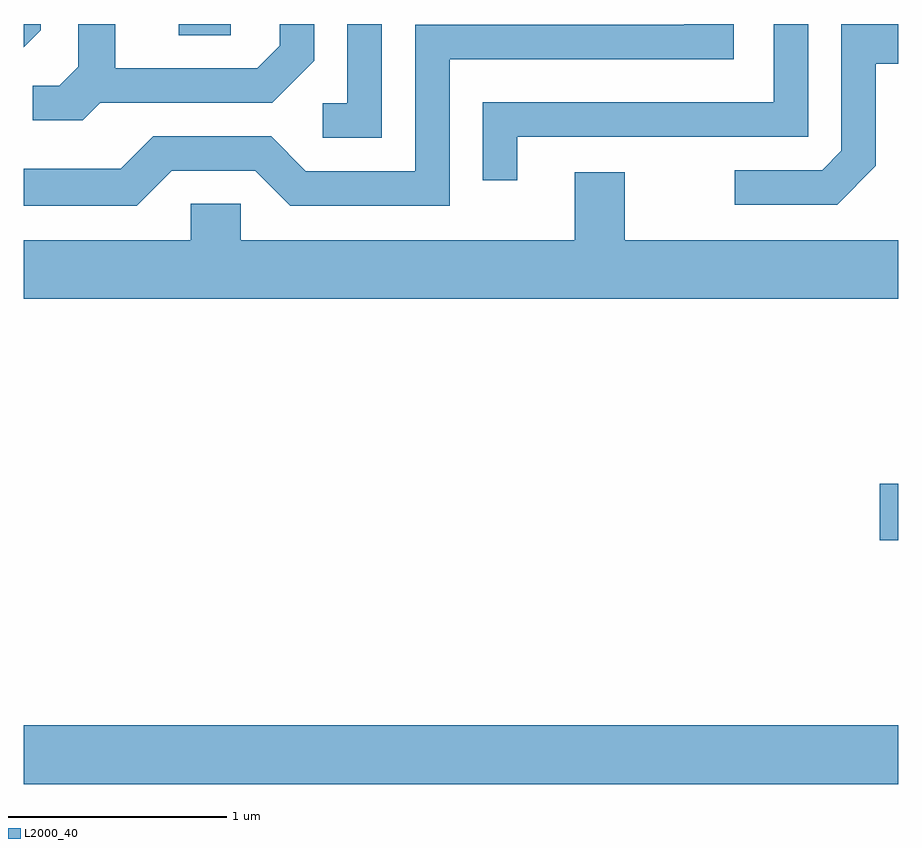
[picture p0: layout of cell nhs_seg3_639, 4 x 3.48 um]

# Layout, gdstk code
import gdstk
lib = gdstk.Library(unit=1e-6, precision=1e-09)
def R(c, l, rs):  # rectangles x0, y0, x1, y1
    for r in rs: c.add(gdstk.rectangle(r[:2], r[2:], *l))
def P(c, l, *ps):  # polygons
    for p in ps: c.add(gdstk.Polygon(p, *l))
L2000_40 = (2000, 40)

nhs_seg3_639 = lib.new_cell('nhs_seg3_639')
R(nhs_seg3_639, L2000_40, [(203.611,1170.416,207.611,1170.684), (207.526,1171.531,207.611,1171.789), (204.321,1173.841,204.559,1173.892)])
P(nhs_seg3_639, L2000_40, [(207.509,1173.244),(207.509,1173.711),(207.611,1173.711),(207.611,1173.892),(207.351,1173.892),(207.351,1173.312),(207.264,1173.224),(206.863,1173.224),(206.863,1173.066),(207.332,1173.066)],
  [(203.962,1173.531),(204.747,1173.531),(204.939,1173.724),(204.939,1173.892),(204.781,1173.892),(204.781,1173.792),(204.679,1173.689),(204.029,1173.689),(204.029,1173.892),(203.861,1173.892),(203.861,1173.697),(203.774,1173.609),(203.653,1173.609),(203.653,1173.451),(203.882,1173.451)],
  [(205.249,1173.892),(205.091,1173.892),(205.091,1173.529),(204.978,1173.529),(204.978,1173.371),(205.249,1173.371)],
  [(203.689,1173.864),(203.689,1173.892),(203.611,1173.892),(203.611,1173.786)],
  [(204.287,1173.221),(204.669,1173.221),(204.829,1173.061),(205.559,1173.061),(205.559,1173.731),(206.859,1173.731),(206.859,1173.892),(206.631,1173.892),(206.631,1173.889),(205.401,1173.889),(205.401,1173.219),(204.902,1173.219),(204.742,1173.379),(204.204,1173.379),(204.054,1173.229),(203.611,1173.229),(203.611,1173.061),(204.127,1173.061)],
  [(205.869,1173.376),(207.199,1173.376),(207.199,1173.892),(207.041,1173.892),(207.041,1173.534),(205.711,1173.534),(205.711,1173.178),(205.869,1173.178)],
  [(207.611,1172.904),(206.359,1172.904),(206.359,1173.214),(206.131,1173.214),(206.131,1172.904),(204.604,1172.904),(204.604,1173.069),(204.376,1173.069),(204.376,1172.904),(203.611,1172.904),(203.611,1172.636),(207.611,1172.636)])

lib.write_gds('nhs_seg3_639.gds')
